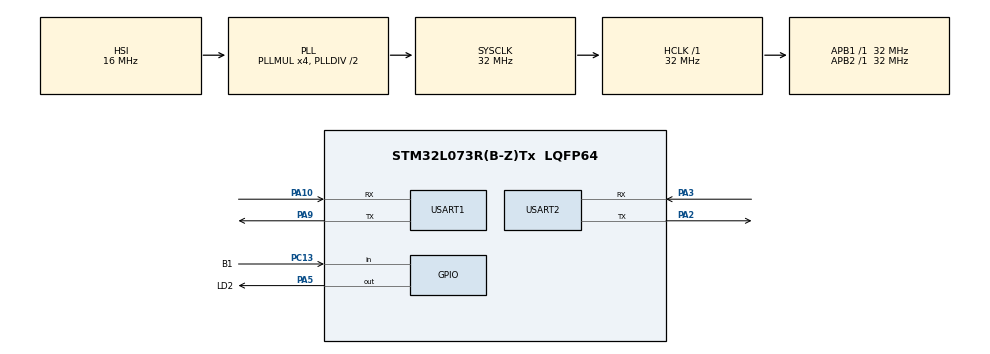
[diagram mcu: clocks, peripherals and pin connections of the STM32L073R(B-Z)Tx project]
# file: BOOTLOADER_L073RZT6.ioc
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Mcu.Family=STM32L0
Mcu.Name=STM32L073R(B-Z)Tx
Mcu.Package=LQFP64
PA10.Mode=Asynchronous
PA10.Signal=USART1_RX
PA2.Mode=Asynchronous
PA2.Signal=USART2_TX
PA3.Mode=Asynchronous
PA3.Signal=USART2_RX
PA5.GPIO_Label=LD2
PA5.Signal=GPIO_Output
PA9.Mode=Asynchronous
PA9.Signal=USART1_TX
PC13.GPIO_Label=B1
PC13.Signal=GPIO_Input
ProjectManager.HeapSize=0x200
ProjectManager.StackSize=0x400
ProjectManager.TargetToolchain=STM32CubeIDE
RCC.AHBFreq_Value=32000000
RCC.APB1Freq_Value=32000000
RCC.APB1TimFreq_Value=32000000
RCC.APB2Freq_Value=32000000
RCC.APB2TimFreq_Value=32000000
RCC.HCLKFreq_Value=32000000
RCC.HSE_VALUE=8000000
RCC.HSI16_VALUE=16000000
RCC.HSI48_VALUE=48000000
RCC.HSI_VALUE=16000000
RCC.LSE_VALUE=32768
RCC.MSI_VALUE=2097000
RCC.PLLMUL=RCC_PLLMUL_4
RCC.SYSCLKFreq_VALUE=32000000
RCC.SYSCLKSource=RCC_SYSCLKSOURCE_PLLCLK
RCC.VCOOutputFreq_Value=64000000
USART1.VirtualMode-Asynchronous=VM_ASYNC
USART2.VirtualMode-Asynchronous=VM_ASYNC
VP_CRC_VS_CRC.Mode=CRC_Activate
board=custom

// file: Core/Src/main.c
/* USER CODE BEGIN Header */
/**
  ******************************************************************************
  * @file           : main.c
  * @brief          : Main program body
  ******************************************************************************
  * @attention
  *
  * Copyright (c) 2025 STMicroelectronics.
  * All rights reserved.
  *
  * This software is licensed under terms that can be found in the LICENSE file
  * in the root directory of this software component.
  * If no LICENSE file comes with this software, it is provided AS-IS.
  *
  ******************************************************************************
  */
/* USER CODE END Header */
#include "main.h"
/* USER CODE BEGIN Includes */
#include "bootloader.h"
/* USER CODE END Includes */

CRC_HandleTypeDef hcrc;

UART_HandleTypeDef huart1;
UART_HandleTypeDef huart2;

void SystemClock_Config(void);
static void MX_GPIO_Init(void);
static void MX_CRC_Init(void);
static void MX_USART1_UART_Init(void);
static void MX_USART2_UART_Init(void);

/* USER CODE BEGIN 0 */
void bootloader_main(void)
{
	if(HAL_GPIO_ReadPin(B1_GPIO_Port, B1_Pin) == GPIO_PIN_RESET)
	{
		debug_puts("button pressed...entering the bootloader mode");
		bootloader_uart_read_data();
	}
	else
	{
		uint8_t rx_byte = 0;
		HAL_StatusTypeDef status;
		status = HAL_UART_Receive(&huart1, &rx_byte, 1, UART_TIMEOUT_MS);
		if (status == HAL_OK && rx_byte == BOOT_CMD)
		{
			debug_puts("BOOT_CMD received: Entering bootloader mode");
			bootloader_uart_read_data();
		}
		else
		{
			debug_puts("No BOOT_CMD: Jumping to application");
			bootloader_jump_to_user_app();
		}
	}
}

/* USER CODE END 0 */

int main(void)
{

  /* MCU Configuration--------------------------------------------------------*/

  /* Reset of all peripherals, Initializes the Flash interface and the Systick. */
  HAL_Init();

  /* Configure the system clock */
  SystemClock_Config();

  /* Initialize all configured peripherals */
  MX_GPIO_Init();
  MX_CRC_Init();
  MX_USART1_UART_Init();
  MX_USART2_UART_Init();
  /* USER CODE BEGIN 2 */
  debug_puts("Bootloader running...");
  bootloader_main();
  /* USER CODE END 2 */

  /* Infinite loop */
  while (1)
  {

  }
}

void SystemClock_Config(void)
{
  RCC_OscInitTypeDef RCC_OscInitStruct = {0};
  RCC_ClkInitTypeDef RCC_ClkInitStruct = {0};
  RCC_PeriphCLKInitTypeDef PeriphClkInit = {0};

  /** Configure the main internal regulator output voltage
  */
  __HAL_PWR_VOLTAGESCALING_CONFIG(PWR_REGULATOR_VOLTAGE_SCALE1);

  /** Initializes the RCC Oscillators according to the specified parameters
  * in the RCC_OscInitTypeDef structure.
  */
  RCC_OscInitStruct.OscillatorType = RCC_OSCILLATORTYPE_HSI;
  RCC_OscInitStruct.HSIState = RCC_HSI_ON;
  RCC_OscInitStruct.HSICalibrationValue = RCC_HSICALIBRATION_DEFAULT;
  RCC_OscInitStruct.PLL.PLLState = RCC_PLL_ON;
  RCC_OscInitStruct.PLL.PLLSource = RCC_PLLSOURCE_HSI;
  RCC_OscInitStruct.PLL.PLLMUL = RCC_PLLMUL_4;
  RCC_OscInitStruct.PLL.PLLDIV = RCC_PLLDIV_2;
  if (HAL_RCC_OscConfig(&RCC_OscInitStruct) != HAL_OK)
  {
    Error_Handler();
  }

  /** Initializes the CPU, AHB and APB buses clocks
  */
  RCC_ClkInitStruct.ClockType = RCC_CLOCKTYPE_HCLK|RCC_CLOCKTYPE_SYSCLK
                              |RCC_CLOCKTYPE_PCLK1|RCC_CLOCKTYPE_PCLK2;
  RCC_ClkInitStruct.SYSCLKSource = RCC_SYSCLKSOURCE_PLLCLK;
  RCC_ClkInitStruct.AHBCLKDivider = RCC_SYSCLK_DIV1;
  RCC_ClkInitStruct.APB1CLKDivider = RCC_HCLK_DIV1;
  RCC_ClkInitStruct.APB2CLKDivider = RCC_HCLK_DIV1;

  if (HAL_RCC_ClockConfig(&RCC_ClkInitStruct, FLASH_LATENCY_1) != HAL_OK)
  {
    Error_Handler();
  }
  PeriphClkInit.PeriphClockSelection = RCC_PERIPHCLK_USART1|RCC_PERIPHCLK_USART2;
  PeriphClkInit.Usart1ClockSelection = RCC_USART1CLKSOURCE_PCLK2;
  PeriphClkInit.Usart2ClockSelection = RCC_USART2CLKSOURCE_PCLK1;
  if (HAL_RCCEx_PeriphCLKConfig(&PeriphClkInit) != HAL_OK)
  {
    Error_Handler();
  }
}

static void MX_CRC_Init(void)
{

  hcrc.Instance = CRC;
  hcrc.Init.DefaultPolynomialUse = DEFAULT_POLYNOMIAL_ENABLE;
  hcrc.Init.DefaultInitValueUse = DEFAULT_INIT_VALUE_ENABLE;
  hcrc.Init.InputDataInversionMode = CRC_INPUTDATA_INVERSION_NONE;
  hcrc.Init.OutputDataInversionMode = CRC_OUTPUTDATA_INVERSION_DISABLE;
  hcrc.InputDataFormat = CRC_INPUTDATA_FORMAT_BYTES;
  if (HAL_CRC_Init(&hcrc) != HAL_OK)
  {
    Error_Handler();
  }

}

static void MX_USART1_UART_Init(void)
{

  huart1.Instance = USART1;
  huart1.Init.BaudRate = 115200;
  huart1.Init.WordLength = UART_WORDLENGTH_8B;
  huart1.Init.StopBits = UART_STOPBITS_1;
  huart1.Init.Parity = UART_PARITY_NONE;
  huart1.Init.Mode = UART_MODE_TX_RX;
  huart1.Init.HwFlowCtl = UART_HWCONTROL_NONE;
  huart1.Init.OverSampling = UART_OVERSAMPLING_16;
  huart1.Init.OneBitSampling = UART_ONE_BIT_SAMPLE_DISABLE;
  huart1.AdvancedInit.AdvFeatureInit = UART_ADVFEATURE_NO_INIT;
  if (HAL_UART_Init(&huart1) != HAL_OK)
  {
    Error_Handler();
  }

}

static void MX_USART2_UART_Init(void)
{

  huart2.Instance = USART2;
  huart2.Init.BaudRate = 115200;
  huart2.Init.WordLength = UART_WORDLENGTH_8B;
  huart2.Init.StopBits = UART_STOPBITS_1;
  huart2.Init.Parity = UART_PARITY_NONE;
  huart2.Init.Mode = UART_MODE_TX_RX;
  huart2.Init.HwFlowCtl = UART_HWCONTROL_NONE;
  huart2.Init.OverSampling = UART_OVERSAMPLING_16;
  huart2.Init.OneBitSampling = UART_ONE_BIT_SAMPLE_DISABLE;
  huart2.AdvancedInit.AdvFeatureInit = UART_ADVFEATURE_NO_INIT;
  if (HAL_UART_Init(&huart2) != HAL_OK)
  {
    Error_Handler();
  }

}

static void MX_GPIO_Init(void)
{
  GPIO_InitTypeDef GPIO_InitStruct = {0};

  /* GPIO Ports Clock Enable */
  __HAL_RCC_GPIOC_CLK_ENABLE();
  __HAL_RCC_GPIOA_CLK_ENABLE();

  /*Configure GPIO pin Output Level */
  HAL_GPIO_WritePin(LD2_GPIO_Port, LD2_Pin, GPIO_PIN_RESET);

  /*Configure GPIO pin : B1_Pin */
  GPIO_InitStruct.Pin = B1_Pin;
  GPIO_InitStruct.Mode = GPIO_MODE_INPUT;
  GPIO_InitStruct.Pull = GPIO_NOPULL;
  HAL_GPIO_Init(B1_GPIO_Port, &GPIO_InitStruct);

  /*Configure GPIO pin : LD2_Pin */
  GPIO_InitStruct.Pin = LD2_Pin;
  GPIO_InitStruct.Mode = GPIO_MODE_OUTPUT_PP;
  GPIO_InitStruct.Pull = GPIO_NOPULL;
  GPIO_InitStruct.Speed = GPIO_SPEED_FREQ_LOW;
  HAL_GPIO_Init(LD2_GPIO_Port, &GPIO_InitStruct);

}

void Error_Handler(void)
{
  __disable_irq();
  while (1)
  {
  }
}
